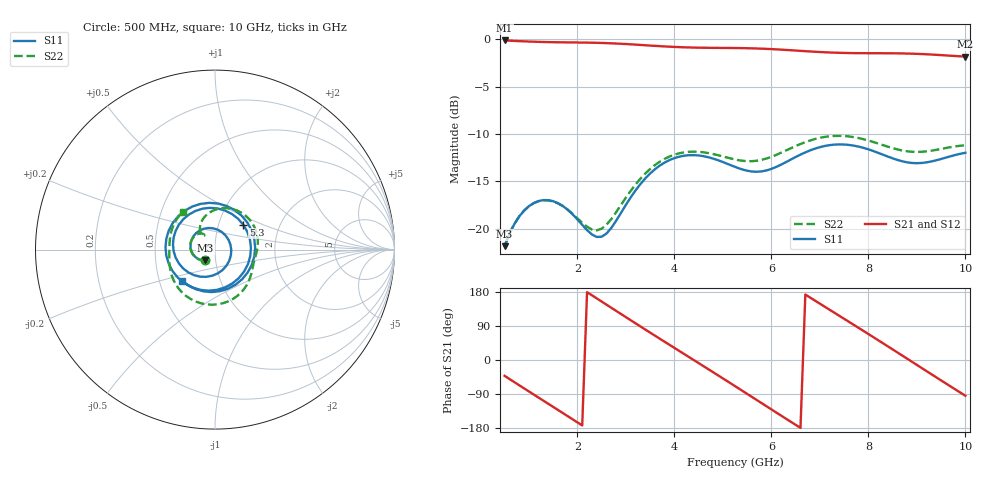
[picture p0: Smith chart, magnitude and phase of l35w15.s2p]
! Touchstone file exported from HFSS 3D Layout Design 2026.1.0
!  File:  D:/Work/ADS/HFSS_VERDICT/hfss_sma_connector_cpw.aedt
!  Generated:  02:26:53 PM Aug  6, 2026
!  Design:  SINGLE_END_SMA_CPW_30MM
!  Project:  hfss_sma_connector_cpw
! Variables:
!  $sma_Base_D = 6.25mm
!  $sma_Base_L = 8mm
!  $sma_Feet_L = 4mm
!  $sma_Feet_W = 1mm
!  $sma_Front_L = 1.5mm
!  $sma_Front_W = 6.5mm
!  $sma_Hole_D = 1.25mm
!  $sma_PTFE_D = 4.2mm
!  $sma_Pin_D = 0.95mm
!  $sma_Pin_P = 1.7mm
# GHz S MA R 50.000000
! Terminal data exported
! Port[1] = Port1
! Port[2] = S1_1_Pin_T1
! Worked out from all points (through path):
!   96 points, 500 MHz to 10 GHz, reference 50 ohm
!   highest |S21| = -0.12 dB at 500 MHz (marker M1); lowest = -1.8 dB at 10 GHz (marker M2)
!   group delay of S21, straight-line fit = 226 ps
!   lowest |S11| = -21.9 dB at 500 MHz (marker M3), VSWR 1.18, Z = 44.5 - j5.32 ohm
!   |S11| at or under -10 dB: start of sweep to end of sweep
!   |S22| runs from -21.8 to -10.2 dB; largest |S21 - S12| = 1.6e-14
!   S11 on the Smith chart (normalised r, x): 500 MHz: 0.89, -0.11; 5.3 GHz: 1.32, +0.38; 10 GHz: 0.65, -0.24
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0.5  0.08081 -132.8  0.9866 -41.8  0.9866 -41.8  0.08116 -132.7
0.9  0.1245 -167.0  0.9762 -74.7  0.9762 -74.7  0.1245 -165.2
1.3  0.1415 157.6  0.9684 -107.4  0.9684 -107.4  0.141 165.1
1.7  0.1318 118.3  0.9643 -140.0  0.9643 -140.0  0.1315 140.3
2.1  0.1047 68.4  0.9618 -172.7  0.9618 -172.7  0.1075 126.5
2.5  0.09063 -1.4  0.957 154.3  0.957 154.3  0.09993 129.6
3  0.1335 -83.5  0.9446 113.1  0.9446 113.1  0.1457 125.3
3.3  0.172 -118.9  0.9343 88.6  0.9343 88.6  0.1836 111.3
3.7  0.2153 -158.8  0.9205 56.1  0.9205 56.1  0.2259 87.1
4.1  0.24 164.2  0.9098 24.0  0.9098 24.0  0.25 61.0
4.5  0.2435 126.8  0.9037 -8.2  0.9037 -8.2  0.2546 35.5
4.9  0.2299 86.5  0.9013 -40.4  0.9013 -40.4  0.2444 12.8
5.3  0.2097 40.9  0.8995 -73.0  0.8995 -73.0  0.2306 -5.6
5.7  0.1998 -10.5  0.8947 -105.7  0.8947 -105.7  0.2285 -20.3
6.2  0.2179 -75.2  0.8824 -146.7  0.8824 -146.7  0.2518 -39.5
6.9  0.2647 -152.8  0.86 156.7  0.86 156.7  0.2975 -75.5
7.7  0.2745 127.8  0.846 92.7  0.846 92.7  0.3044 -122.1
8.1  0.2571 86.0  0.8448 60.5  0.8448 60.5  0.287 -143.5
8.5  0.2352 40.2  0.844 28.0  0.844 28.0  0.2663 -161.9
9.2  0.224 -47.5  0.8339 -29.4  0.8339 -29.4  0.2561 170.7
9.6  0.2374 -94.6  0.8225 -62.0  0.8225 -62.0  0.2667 152.5
10  0.2517 -136.8  0.8102 -94.4  0.8102 -94.4  0.2756 130.5
